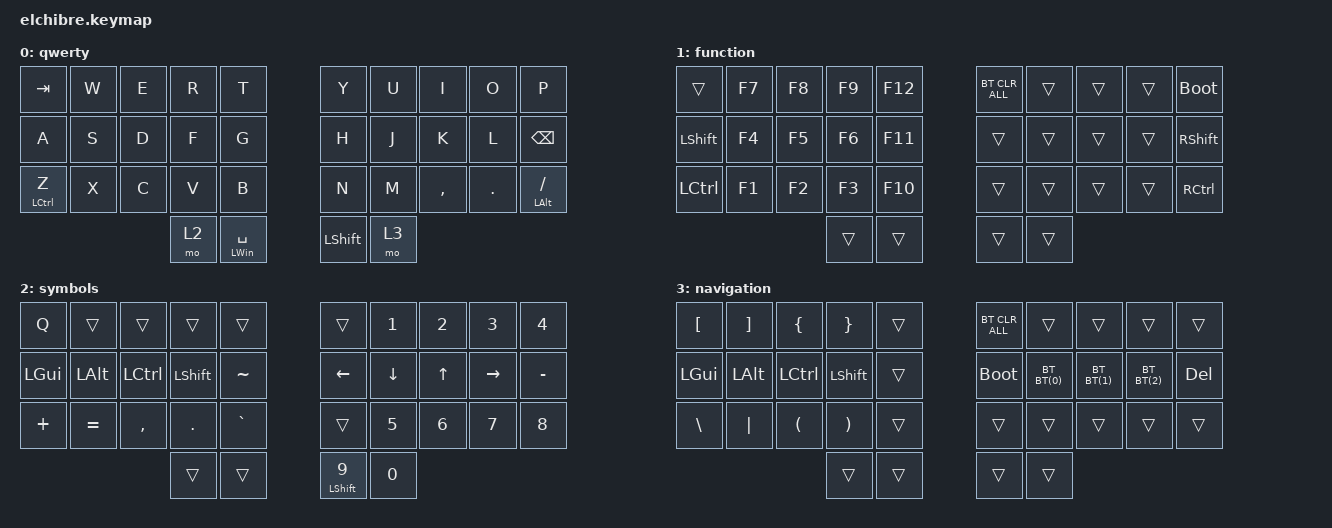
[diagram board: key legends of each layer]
#include <behaviors.dtsi>
#include <dt-bindings/zmk/bt.h>
#include <dt-bindings/zmk/keys.h>
#include <dt-bindings/zmk/outputs.h>

#define BT(n) BT_SEL n

&lt {
    tapping-term-ms = <150>;
    flavor = "balanced";
    require-prior-idle-ms = <100>;
    quick-tap-ms = <100>;
};

&mt {
    tapping-term-ms = <150>;
    flavor = "balanced";
    require-prior-idle-ms = <140>;
};

/ {
    macros {
        mc_dead: mc_dead {
            label = "mc_dead";
            compatible = "zmk,behavior-macro";
            #binding-cells = <0>;
            wait-ms = <5>;
            tap-ms = <10>;
            bindings
                = <&macro_press &kp LSHIFT>
                , <&macro_tap &kp QUOT>
                , <&macro_release &kp LSHIFT>
            ;
        };
        mc_quot: mc_quote {
            label = "mc_quot";
            compatible = "zmk,behavior-macro";
            #binding-cells = <0>;
            bindings
                = <&macro_tap &kp QUOT>
                , <&macro_tap &kp SPACE>
            ;
        };
        mc_dqt: mc_dqt {
            label = "mc_dqt";
            compatible = "zmk,behavior-macro";
            #binding-cells = <0>;
            bindings
                = <&macro_press &kp LSHIFT>
                , <&macro_tap &kp QUOT>
                , <&macro_release &kp LSHIFT>
                , <&macro_tap &kp SPACE>
            ;
        };
        mc_grv: mc_grave {
            label = "mc_grv";
            compatible = "zmk,behavior-macro";
            #binding-cells = <0>;
            bindings
                = <&macro_tap &kp GRAVE>
                , <&macro_tap &kp SPACE>
            ;
        };
        mc_tild: mc_tilde {
            label = "mc_tild";
            compatible = "zmk,behavior-macro";
            #binding-cells = <0>;
            bindings
                = <&macro_press &kp LSHIFT>
                , <&macro_tap &kp GRAVE>
                , <&macro_release &kp LSHIFT>
                , <&macro_tap &kp SPACE>
            ;
        };
    };

    combos {
        compatible = "zmk,combos";
        combo_esc {
            timeout-ms = <27>;
            key-positions = <12 13>;
            bindings = <&kp ESC>;
        };
        combo_enter {
            timeout-ms = <27>;
            key-positions = <16 17>;
            bindings = <&kp ENTER>;
        };
           combo_quote {
                timeout-ms = <35>;
                key-positions = <21 22>;
                bindings = <&mc_quot>;
                layers = <0>;
           };
           combo_dqt {
             timeout-ms = <35>;
             key-positions = <22 23>;
             bindings = <&mc_dqt>;
             layers = <0>;
           };
            combo_colon {
                timeout-ms = <35>;
                key-positions = <26 27>;
                bindings = <&kp COLON>;
                layers = <0 1 2>;
            };
            combo_semi {
                timeout-ms = <35>;
                key-positions = <27 28>;
                bindings = <&kp SEMI>;
                layers = <0 1 2>;
            };
    };
};

/ {
    keymap {
        compatible = "zmk,keymap";

        qwerty {
            bindings = <
                &kp TAB      &kp W  &kp E  &kp R    &kp T     &kp Y &kp U &kp I     &kp O      &kp P
                &kp A        &kp S  &kp D  &kp F    &kp G     &kp H &kp J &kp K     &kp L      &kp BACKSPACE
                &mt LCTRL Z  &kp X  &kp C  &kp V    &kp B     &kp N &kp M &kp COMMA &kp PERIOD &mt LALT SLASH
                             &mo 2    &mt LWIN SPACE        &kp LSHIFT            &mo 3
            >;
        };

        function {
            bindings = <
                &trans    &kp F7 &kp F8 &kp F9 &kp F12          &bt BT_CLR_ALL &trans &trans &trans &bootloader
                &kp LSHFT &kp F4 &kp F5 &kp F6 &kp F11          &trans &trans &trans &trans &kp RSHIFT
                &kp LCTRL &kp F1 &kp F2 &kp F3 &kp F10          &trans &trans &trans &trans &kp RCTRL
                              &trans         &trans             &trans         &trans
            >;
        };

        symbols {
            bindings = <
                &kp Q         &trans   &trans     &trans     &trans      &trans   &kp N1    &kp N2   &kp N3    &kp N4
                &kp LGUI      &kp LALT &kp LCTL   &kp LSHIFT &kp TILDE   &kp LEFT &kp DOWN  &kp UP   &kp RIGHT &kp MINUS
                &kp PLUS      &kp EQUAL &kp COMMA &kp DOT    &kp GRAVE   &trans   &kp N5    &kp N6   &kp N7    &kp N8
                                        &trans    &trans                 &mt LSHIFT N9      &kp N0
            >;
        };

        navigation {
            bindings = <
                &kp LBKT  &kp RBKT &kp LBRC  &kp RBRC   &trans          &bt BT_CLR_ALL &trans    &trans    &trans    &trans
                &kp LGUI  &kp LALT &kp LCTRL &kp LSHIFT &trans          &bootloader    &bt BT(0) &bt BT(1) &bt BT(2) &kp DEL
                &kp BSLH  &kp PIPE &kp LPRN  &kp RPRN   &trans          &trans         &trans    &trans    &trans    &trans
                              &trans         &trans                     &trans         &trans
            >;
        };
    };
};
